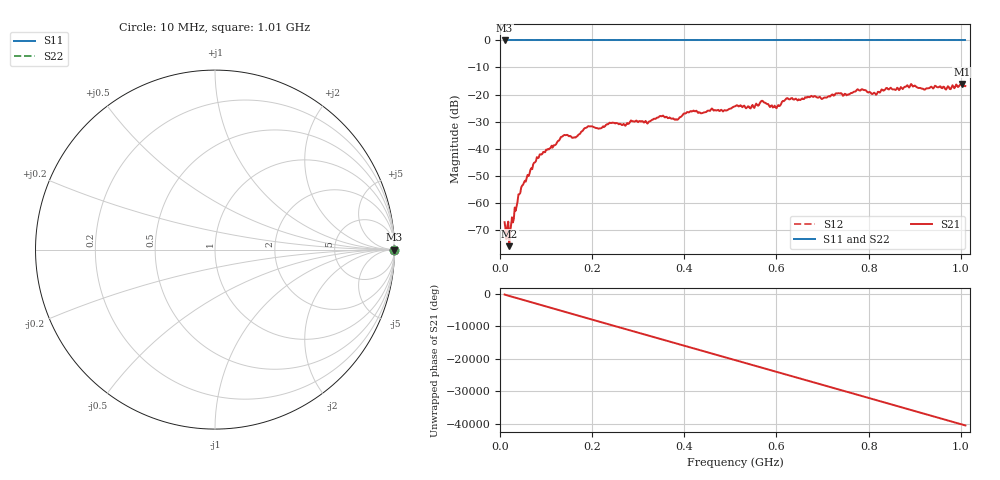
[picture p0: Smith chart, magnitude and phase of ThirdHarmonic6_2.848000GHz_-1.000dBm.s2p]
! 8/17/2025 7:41:35 AM
! C:\ANRITSUVNA\TEMP\TEMP.S2P
! CHANNEL.1
! TR.MEASUREMENT
! RAW.DATA
! RF.CORRECTION.OFF
! AVERAGING.OFF
! IF.BANDWIDTH: 5KHZ
! SWEEPTYPE:  FREQ.SWEEP(Linear)
! Reference Plane Port Info
! PORT:  PORT1  PORT2
! DISTANCE:  0  m  0  m
! TIME:  0  s  0  s
! PHASE.OFFSET:  0  deg.  0  deg.
! LOSS:  0  dB  0  dB
! REF.LOSS:  0  dB  0  dB
! REF.FREQ:  0  Hz  0  Hz
! Power Info
! POWER:  -20  dBm  -20  dBm
! EFF.POWER:  -20  dBm  -20  dBm
! SOURCE.ATTEN:  0  dB  0  dB
! TEST.ATTEN:  0  dB  0  dB
# GHZ S RI R 50.0
! FREQ.GHZ  S11RE  S11IM  S21RE  S21IM  S12RE  S12IM  S22RE  S22IM
!; PortSelection: Port_12
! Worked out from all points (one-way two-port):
!   501 points, 10 MHz to 1.01 GHz, reference 50 ohm
!   highest |S21| = -16.10 dB at 1.002 GHz (marker M1); lowest = -76.1 dB at 20 MHz (marker M2)
!   lowest |S11| = 0.0 dB at 10 MHz (marker M3)
!   |S11| at or under -10 dB: nowhere
!   |S22| runs from 0.0 to 0.0 dB; largest |S21 - S12| = 1.2
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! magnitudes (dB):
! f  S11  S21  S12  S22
! 10 MHz  0.0  -67.2  0.0  0.0
! 20 MHz  0.0  -76.1  0.0  0.0
! 24 MHz  0.0  -68.4  0.0  0.0
! 44 MHz  0.0  -56.4  0.0  0.0
! 84 MHz  0.0  -43.4  0.0  0.0
! 136 MHz  0.0  -35.4  0.0  0.0
! 162 MHz  0.0  -35.8  0.0  0.0
! 178 MHz  0.0  -33.6  0.0  0.0
! 344 MHz  0.0  -28.4  0.0  0.0
! 382 MHz  0.0  -29.1  0.0  0.0
! 416 MHz  0.0  -26.3  0.0  0.0
! 510 MHz  0.0  -24.4  0.0  0.0
! 548 MHz  0.0  -23.9  0.0  0.0
! 570 MHz  0.0  -22.4  0.0  0.0
! 596 MHz  0.0  -24.1  0.0  0.0
! 622 MHz  0.0  -21.4  0.0  0.0
! 678 MHz  0.0  -20.8  0.0  0.0
! 788 MHz  0.0  -18.2  0.0  0.0
! 814 MHz  0.0  -19.6  0.0  0.0
! 844 MHz  0.0  -18.1  0.0  0.0
! 1.002 GHz  0.0  -16.1  0.0  0.0
! 1.01 GHz  0.0  -16.9  0.0  0.0
